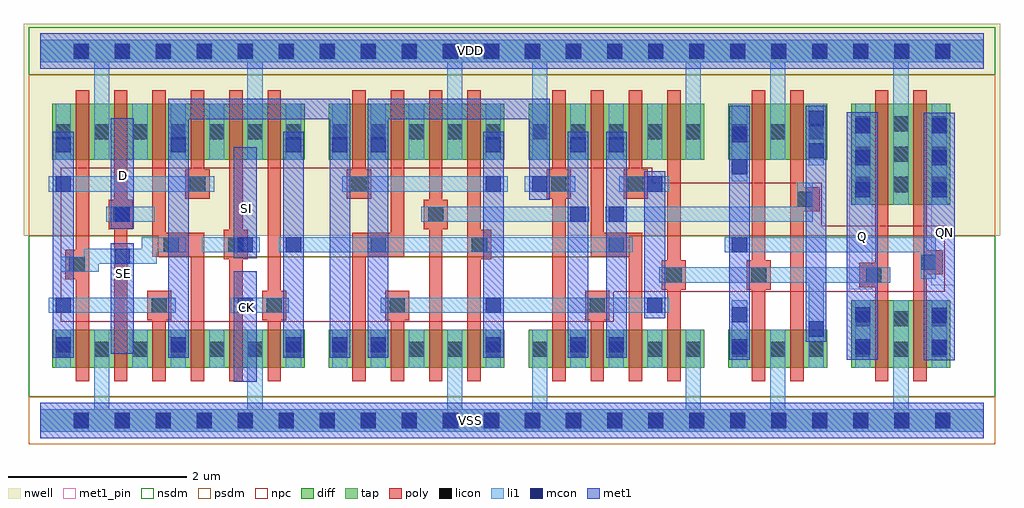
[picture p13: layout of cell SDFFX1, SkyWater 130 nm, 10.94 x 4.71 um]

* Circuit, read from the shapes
.subckt SDFFX1 CK D Q QN SE SI VDD VSS
XM1 VSS SE n1 VSS sky130_fd_pr__nfet_01v8 w=0.425 l=0.15
XM2 n2 D VSS VSS sky130_fd_pr__nfet_01v8 w=0.425 l=0.15
XM3 n3 n1 n2 VSS sky130_fd_pr__nfet_01v8 w=0.425 l=0.15
XM4 n4 SE n3 VSS sky130_fd_pr__nfet_01v8 w=0.425 l=0.15
XM5 VSS SI n4 VSS sky130_fd_pr__nfet_01v8 w=0.425 l=0.15
XM6 n5 CK VSS VSS sky130_fd_pr__nfet_01v8 w=0.425 l=0.15
XM7 n6 n5 n3 VSS sky130_fd_pr__nfet_01v8 w=0.425 l=0.15
XM8 n7 n8 n6 VSS sky130_fd_pr__nfet_01v8 w=0.425 l=0.15
XM9 VSS n9 n7 VSS sky130_fd_pr__nfet_01v8 w=0.425 l=0.15
XM10 n8 n5 VSS VSS sky130_fd_pr__nfet_01v8 w=0.425 l=0.15
XM11 n9 n6 VSS VSS sky130_fd_pr__nfet_01v8 w=0.425 l=0.15
XM12 n10 n8 n9 VSS sky130_fd_pr__nfet_01v8 w=0.425 l=0.15
XM13 n11 n5 n10 VSS sky130_fd_pr__nfet_01v8 w=0.425 l=0.15
XM14 VSS n12 n11 VSS sky130_fd_pr__nfet_01v8 w=0.425 l=0.15
XM15 VSS n12 n13 VSS sky130_fd_pr__nfet_01v8 w=0.425 l=0.15
XM16 n12 n10 VSS VSS sky130_fd_pr__nfet_01v8 w=0.425 l=0.15
XM17 VSS n12 Q VSS sky130_fd_pr__nfet_01v8 w=0.76 l=0.15
XM18 QN n13 VSS VSS sky130_fd_pr__nfet_01v8 w=0.76 l=0.15
XM19 VDD SE n1 VDD sky130_fd_pr__pfet_01v8 w=0.625 l=0.15
XM20 n14 D VDD VDD sky130_fd_pr__pfet_01v8 w=0.625 l=0.15
XM21 n3 SE n14 VDD sky130_fd_pr__pfet_01v8 w=0.625 l=0.15
XM22 n15 n1 n3 VDD sky130_fd_pr__pfet_01v8 w=0.625 l=0.15
XM23 VDD SI n15 VDD sky130_fd_pr__pfet_01v8 w=0.625 l=0.15
XM24 n5 CK VDD VDD sky130_fd_pr__pfet_01v8 w=0.625 l=0.15
XM25 n6 n8 n3 VDD sky130_fd_pr__pfet_01v8 w=0.625 l=0.15
XM26 n16 n5 n6 VDD sky130_fd_pr__pfet_01v8 w=0.625 l=0.15
XM27 VDD n9 n16 VDD sky130_fd_pr__pfet_01v8 w=0.625 l=0.15
XM28 n8 n5 VDD VDD sky130_fd_pr__pfet_01v8 w=0.625 l=0.15
XM29 n9 n6 VDD VDD sky130_fd_pr__pfet_01v8 w=0.625 l=0.15
XM30 n10 n5 n9 VDD sky130_fd_pr__pfet_01v8 w=0.625 l=0.15
XM31 n17 n8 n10 VDD sky130_fd_pr__pfet_01v8 w=0.625 l=0.15
XM32 VDD n12 n17 VDD sky130_fd_pr__pfet_01v8 w=0.625 l=0.15
XM33 VDD n12 n13 VDD sky130_fd_pr__pfet_01v8 w=0.625 l=0.15
XM34 n12 n10 VDD VDD sky130_fd_pr__pfet_01v8 w=0.625 l=0.15
XM35 VDD n12 Q VDD sky130_fd_pr__pfet_01v8 w=1.13 l=0.15
XM36 QN n13 VDD VDD sky130_fd_pr__pfet_01v8 w=1.13 l=0.15
.ends

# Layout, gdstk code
from math import pi, radians
import gdstk
lib = gdstk.Library(unit=1e-6, precision=1e-09)
def R(c, l, rs):  # rectangles x0, y0, x1, y1
    for r in rs: c.add(gdstk.rectangle(r[:2], r[2:], *l))
def A(c, l, x, y, w, h, nx, ny, dx, dy):  # array of equal rectangles
    R(c, l, [(x+i*dx, y+j*dy, x+i*dx+w, y+j*dy+h) for i in range(nx) for j in range(ny)])
def P(c, l, *ps):  # polygons
    for p in ps: c.add(gdstk.Polygon(p, *l))
nwell = (64, 20)
diff = (65, 20)
tap = (65, 44)
poly = (66, 20)
licon = (66, 44)
li1 = (67, 20)
mcon = (67, 44)
met1_pin = (68, 16)
met1 = (68, 20)
nsdm = (93, 44)
psdm = (94, 20)
npc = (95, 20)

nfet_01v8_cdns_715785618 = lib.new_cell('nfet_01v8_CDNS_715785618206')
R(nfet_01v8_cdns_715785618, diff, [(-0.225,0,0,0.425), (0,0,0.15,0.425), (0.15,0,0.415,0.425)])
R(nfet_01v8_cdns_715785618, poly, [(0,-0.15,0.15,-0.095), (0,-0.095,0.15,0), (0,0,0.15,0.425), (0,0.425,0.15,0.52), (0,0.52,0.15,0.575)])
R(nfet_01v8_cdns_715785618, licon, [(-0.225,0.125,-0.055,0.295), (0.205,0.125,0.375,0.295)])
R(nfet_01v8_cdns_715785618, li1, [(-0.225,0,-0.055,0.425), (0.205,0,0.375,0.425)])
R(nfet_01v8_cdns_715785618, nsdm, [(-0.235,-0.13,0.555,0.555)])

pfet_01v8_cdns_715785618 = lib.new_cell('pfet_01v8_CDNS_715785618209')
R(pfet_01v8_cdns_715785618, nwell, [(-0.445,-0.18,0.385,0.805)])
R(pfet_01v8_cdns_715785618, diff, [(-0.265,0,0,0.625), (0,0,0.15,0.625), (0.15,0,0.205,0.625)])
R(pfet_01v8_cdns_715785618, poly, [(0,-0.15,0.15,-0.095), (0,-0.095,0.15,0), (0,0,0.15,0.625), (0,0.625,0.15,0.72), (0,0.72,0.15,0.775)])
R(pfet_01v8_cdns_715785618, licon, [(-0.225,0.225,-0.055,0.395)])
R(pfet_01v8_cdns_715785618, li1, [(-0.225,0,-0.055,0.625)])
R(pfet_01v8_cdns_715785618, psdm, [(-0.405,-0.13,0.215,0.755)])

c_pfet_01v8_cdns_715785618 = lib.new_cell('pfet_01v8_CDNS_7157856182012')
R(c_pfet_01v8_cdns_715785618, nwell, [(-0.405,-0.18,0.595,1.31)])
R(c_pfet_01v8_cdns_715785618, diff, [(-0.225,0,0,1.13), (0,0,0.15,1.13), (0.15,0,0.415,1.13)])
R(c_pfet_01v8_cdns_715785618, poly, [(0,-0.15,0.15,-0.095), (0,-0.095,0.15,0), (0,0,0.15,1.13), (0,1.13,0.15,1.225), (0,1.225,0.15,1.28)])
A(c_pfet_01v8_cdns_715785618, licon, -0.225, 0.14, 0.17, 0.17, 1, 3, 0, 0.34)
A(c_pfet_01v8_cdns_715785618, licon, 0.205, 0.14, 0.17, 0.17, 1, 3, 0, 0.34)
R(c_pfet_01v8_cdns_715785618, li1, [(-0.225,0,-0.055,1.13), (0.205,0,0.375,1.13)])
R(c_pfet_01v8_cdns_715785618, psdm, [(-0.235,-0.13,0.555,1.26)])

c_nfet_01v8_cdns_715785618 = lib.new_cell('nfet_01v8_CDNS_7157856182050')
R(c_nfet_01v8_cdns_715785618, diff, [(-0.225,0,0,0.425), (0,0,0.15,0.425), (0.15,0,0.205,0.425)])
R(c_nfet_01v8_cdns_715785618, poly, [(0,-0.15,0.15,-0.095), (0,-0.095,0.15,0), (0,0,0.15,0.425), (0,0.425,0.15,0.52), (0,0.52,0.15,0.575)])
R(c_nfet_01v8_cdns_715785618, licon, [(-0.225,0.125,-0.055,0.295)])
R(c_nfet_01v8_cdns_715785618, li1, [(-0.225,0,-0.055,0.425)])
R(c_nfet_01v8_cdns_715785618, nsdm, [(-0.235,-0.13,0.215,0.555)])

c_nfet_01v8_cdns_715785618_ = lib.new_cell('nfet_01v8_CDNS_715785618208')
R(c_nfet_01v8_cdns_715785618_, diff, [(-0.055,0,0,0.425), (0,0,0.15,0.425), (0.15,0,0.415,0.425)])
R(c_nfet_01v8_cdns_715785618_, poly, [(0,-0.15,0.15,-0.095), (0,-0.095,0.15,0), (0,0,0.15,0.425), (0,0.425,0.15,0.52), (0,0.52,0.15,0.575)])
R(c_nfet_01v8_cdns_715785618_, licon, [(0.205,0.125,0.375,0.295)])
R(c_nfet_01v8_cdns_715785618_, li1, [(0.205,0,0.375,0.425)])
R(c_nfet_01v8_cdns_715785618_, nsdm, [(-0.065,-0.13,0.555,0.555)])

c_pfet_01v8_cdns_715785618_ = lib.new_cell('pfet_01v8_CDNS_715785618204')
R(c_pfet_01v8_cdns_715785618_, nwell, [(-0.235,-0.18,0.595,1.31)])
R(c_pfet_01v8_cdns_715785618_, diff, [(-0.055,0,0,1.13), (0,0,0.15,1.13), (0.15,0,0.415,1.13)])
R(c_pfet_01v8_cdns_715785618_, poly, [(0,-0.15,0.15,-0.095), (0,-0.095,0.15,0), (0,0,0.15,1.13), (0,1.13,0.15,1.225), (0,1.225,0.15,1.28)])
A(c_pfet_01v8_cdns_715785618_, licon, 0.205, 0.14, 0.17, 0.17, 1, 3, 0, 0.34)
R(c_pfet_01v8_cdns_715785618_, li1, [(0.205,0,0.375,1.13)])
R(c_pfet_01v8_cdns_715785618_, psdm, [(-0.065,-0.13,0.555,1.26)])

c_pfet_01v8_cdns_715785618__ = lib.new_cell('pfet_01v8_CDNS_7157856182082')
R(c_pfet_01v8_cdns_715785618__, nwell, [(-0.235,-0.18,0.385,0.805)])
R(c_pfet_01v8_cdns_715785618__, diff, [(-0.055,0,0,0.625), (0,0,0.15,0.625), (0.15,0,0.205,0.625)])
R(c_pfet_01v8_cdns_715785618__, poly, [(0,-0.15,0.15,-0.095), (0,-0.095,0.15,0), (0,0,0.15,0.625), (0,0.625,0.15,0.72), (0,0.72,0.15,0.775)])
R(c_pfet_01v8_cdns_715785618__, psdm, [(-0.065,-0.13,0.215,0.755)])

c_nfet_01v8_cdns_715785618__ = lib.new_cell('nfet_01v8_CDNS_7157856182083')
R(c_nfet_01v8_cdns_715785618__, diff, [(-0.225,0,0,0.425), (0,0,0.15,0.425), (0.15,0,0.375,0.425)])
R(c_nfet_01v8_cdns_715785618__, poly, [(0,-0.15,0.15,-0.095), (0,-0.095,0.15,0), (0,0,0.15,0.425), (0,0.425,0.15,0.52), (0,0.52,0.15,0.575)])
R(c_nfet_01v8_cdns_715785618__, licon, [(0.205,0.125,0.375,0.295)])
R(c_nfet_01v8_cdns_715785618__, li1, [(0.205,0,0.375,0.425)])
R(c_nfet_01v8_cdns_715785618__, nsdm, [(-0.235,-0.13,0.385,0.555)])

c_nfet_01v8_cdns_715785618___ = lib.new_cell('nfet_01v8_CDNS_7157856182085')
R(c_nfet_01v8_cdns_715785618___, diff, [(-0.055,0,0,0.425), (0,0,0.15,0.425), (0.15,0,0.375,0.425)])
R(c_nfet_01v8_cdns_715785618___, poly, [(0,-0.15,0.15,-0.095), (0,-0.095,0.15,0), (0,0,0.15,0.425), (0,0.425,0.15,0.52), (0,0.52,0.15,0.575)])
R(c_nfet_01v8_cdns_715785618___, licon, [(0.205,0.125,0.375,0.295)])
R(c_nfet_01v8_cdns_715785618___, li1, [(0.205,0,0.375,0.425)])
R(c_nfet_01v8_cdns_715785618___, nsdm, [(-0.065,-0.13,0.385,0.555)])

c_pfet_01v8_cdns_715785618___ = lib.new_cell('pfet_01v8_CDNS_7157856182086')
R(c_pfet_01v8_cdns_715785618___, nwell, [(-0.405,-0.18,0.555,0.805)])
R(c_pfet_01v8_cdns_715785618___, diff, [(-0.225,0,0,0.625), (0,0,0.15,0.625), (0.15,0,0.375,0.625)])
R(c_pfet_01v8_cdns_715785618___, poly, [(0,-0.15,0.15,-0.095), (0,-0.095,0.15,0), (0,0,0.15,0.625), (0,0.625,0.15,0.72), (0,0.72,0.15,0.775)])
R(c_pfet_01v8_cdns_715785618___, licon, [(0.205,0.225,0.375,0.395)])
R(c_pfet_01v8_cdns_715785618___, li1, [(0.205,0,0.375,0.625)])
R(c_pfet_01v8_cdns_715785618___, psdm, [(-0.235,-0.13,0.385,0.755)])

c_nfet_01v8_cdns_715785618____ = lib.new_cell('nfet_01v8_CDNS_7157856182033')
R(c_nfet_01v8_cdns_715785618____, diff, [(-0.225,0,0,0.425), (0,0,0.15,0.425), (0.15,0,0.205,0.425)])
R(c_nfet_01v8_cdns_715785618____, poly, [(0,-0.15,0.15,-0.095), (0,-0.095,0.15,0), (0,0,0.15,0.425), (0,0.425,0.15,0.52), (0,0.52,0.15,0.575)])
R(c_nfet_01v8_cdns_715785618____, nsdm, [(-0.235,-0.13,0.215,0.555)])

c_pfet_01v8_cdns_715785618____ = lib.new_cell('pfet_01v8_CDNS_7157856182019')
R(c_pfet_01v8_cdns_715785618____, nwell, [(-0.405,-0.18,0.595,0.805)])
R(c_pfet_01v8_cdns_715785618____, diff, [(-0.225,0,0,0.625), (0,0,0.15,0.625), (0.15,0,0.415,0.625)])
R(c_pfet_01v8_cdns_715785618____, poly, [(0,-0.15,0.15,-0.095), (0,-0.095,0.15,0), (0,0,0.15,0.625), (0,0.625,0.15,0.72), (0,0.72,0.15,0.775)])
R(c_pfet_01v8_cdns_715785618____, licon, [(-0.225,0.225,-0.055,0.395), (0.205,0.225,0.375,0.395)])
R(c_pfet_01v8_cdns_715785618____, li1, [(-0.225,0,-0.055,0.625), (0.205,0,0.375,0.625)])
R(c_pfet_01v8_cdns_715785618____, psdm, [(-0.235,-0.13,0.555,0.755)])

c_nfet_01v8_cdns_715785618_____ = lib.new_cell('nfet_01v8_CDNS_7157856182092')
R(c_nfet_01v8_cdns_715785618_____, diff, [(-0.265,0,0,0.425), (0,0,0.15,0.425), (0.15,0,0.375,0.425)])
R(c_nfet_01v8_cdns_715785618_____, poly, [(0,-0.15,0.15,-0.095), (0,-0.095,0.15,0), (0,0,0.15,0.425), (0,0.425,0.15,0.52), (0,0.52,0.15,0.575)])
R(c_nfet_01v8_cdns_715785618_____, licon, [(-0.225,0.125,-0.055,0.295)])
R(c_nfet_01v8_cdns_715785618_____, li1, [(-0.225,0,-0.055,0.425)])
R(c_nfet_01v8_cdns_715785618_____, nsdm, [(-0.405,-0.13,0.385,0.555)])

c_nfet_01v8_cdns_715785618______ = lib.new_cell('nfet_01v8_CDNS_7157856182077')
R(c_nfet_01v8_cdns_715785618______, diff, [(-0.055,0,0,0.425), (0,0,0.15,0.425), (0.15,0,0.415,0.425)])
R(c_nfet_01v8_cdns_715785618______, poly, [(0,-0.15,0.15,-0.095), (0,-0.095,0.15,0), (0,0,0.15,0.425), (0,0.425,0.15,0.52), (0,0.52,0.15,0.575)])
R(c_nfet_01v8_cdns_715785618______, licon, [(0.205,0.125,0.375,0.295)])
R(c_nfet_01v8_cdns_715785618______, li1, [(0.205,0,0.375,0.425)])
R(c_nfet_01v8_cdns_715785618______, nsdm, [(-0.065,-0.13,0.555,0.555)])

c_nfet_01v8_cdns_715785618_______ = lib.new_cell('nfet_01v8_CDNS_7157856182030')
R(c_nfet_01v8_cdns_715785618_______, diff, [(-0.055,0,0,0.425), (0,0,0.15,0.425), (0.15,0,0.375,0.425)])
R(c_nfet_01v8_cdns_715785618_______, poly, [(0,-0.15,0.15,-0.095), (0,-0.095,0.15,0), (0,0,0.15,0.425), (0,0.425,0.15,0.52), (0,0.52,0.15,0.575)])
R(c_nfet_01v8_cdns_715785618_______, licon, [(0.205,0.125,0.375,0.295)])
R(c_nfet_01v8_cdns_715785618_______, li1, [(0.205,0,0.375,0.425)])
R(c_nfet_01v8_cdns_715785618_______, nsdm, [(-0.065,-0.13,0.385,0.555)])

c_nfet_01v8_cdns_715785618________ = lib.new_cell('nfet_01v8_CDNS_7157856182088')
R(c_nfet_01v8_cdns_715785618________, diff, [(-0.055,0,0,0.425), (0,0,0.15,0.425), (0.15,0,0.205,0.425)])
R(c_nfet_01v8_cdns_715785618________, poly, [(0,-0.15,0.15,-0.095), (0,-0.095,0.15,0), (0,0,0.15,0.425), (0,0.425,0.15,0.52), (0,0.52,0.15,0.575)])
R(c_nfet_01v8_cdns_715785618________, nsdm, [(-0.065,-0.13,0.215,0.555)])

c_pfet_01v8_cdns_715785618_____ = lib.new_cell('pfet_01v8_CDNS_7157856182089')
R(c_pfet_01v8_cdns_715785618_____, nwell, [(-0.405,-0.18,0.385,0.805)])
R(c_pfet_01v8_cdns_715785618_____, diff, [(-0.225,0,0,0.625), (0,0,0.15,0.625), (0.15,0,0.205,0.625)])
R(c_pfet_01v8_cdns_715785618_____, poly, [(0,-0.15,0.15,-0.095), (0,-0.095,0.15,0), (0,0,0.15,0.625), (0,0.625,0.15,0.72), (0,0.72,0.15,0.775)])
R(c_pfet_01v8_cdns_715785618_____, psdm, [(-0.235,-0.13,0.215,0.755)])

c_nfet_01v8_cdns_715785618_________ = lib.new_cell('nfet_01v8_CDNS_7157856182090')
R(c_nfet_01v8_cdns_715785618_________, diff, [(-0.225,0,0,0.425), (0,0,0.15,0.425), (0.15,0,0.375,0.425)])
R(c_nfet_01v8_cdns_715785618_________, poly, [(0,-0.15,0.15,-0.095), (0,-0.095,0.15,0), (0,0,0.15,0.425), (0,0.425,0.15,0.52), (0,0.52,0.15,0.575)])
R(c_nfet_01v8_cdns_715785618_________, licon, [(0.205,0.125,0.375,0.295)])
R(c_nfet_01v8_cdns_715785618_________, li1, [(0.205,0,0.375,0.425)])
R(c_nfet_01v8_cdns_715785618_________, nsdm, [(-0.235,-0.13,0.385,0.555)])

c_pfet_01v8_cdns_715785618______ = lib.new_cell('pfet_01v8_CDNS_7157856182017')
R(c_pfet_01v8_cdns_715785618______, nwell, [(-0.235,-0.18,0.595,0.805)])
R(c_pfet_01v8_cdns_715785618______, diff, [(-0.055,0,0,0.625), (0,0,0.15,0.625), (0.15,0,0.415,0.625)])
R(c_pfet_01v8_cdns_715785618______, poly, [(0,-0.15,0.15,-0.095), (0,-0.095,0.15,0), (0,0,0.15,0.625), (0,0.625,0.15,0.72), (0,0.72,0.15,0.775)])
R(c_pfet_01v8_cdns_715785618______, licon, [(0.205,0.225,0.375,0.395)])
R(c_pfet_01v8_cdns_715785618______, li1, [(0.205,0,0.375,0.625)])
R(c_pfet_01v8_cdns_715785618______, psdm, [(-0.065,-0.13,0.555,0.755)])

c_nfet_01v8_cdns_715785618__________ = lib.new_cell('nfet_01v8_CDNS_715785618203')
R(c_nfet_01v8_cdns_715785618__________, diff, [(-0.055,0,0,0.76), (0,0,0.15,0.76), (0.15,0,0.415,0.76)])
R(c_nfet_01v8_cdns_715785618__________, poly, [(0,-0.15,0.15,-0.095), (0,-0.095,0.15,0), (0,0,0.15,0.76), (0,0.76,0.15,0.855), (0,0.855,0.15,0.91)])
R(c_nfet_01v8_cdns_715785618__________, licon, [(0.205,0.125,0.375,0.295), (0.205,0.465,0.375,0.635)])
R(c_nfet_01v8_cdns_715785618__________, li1, [(0.205,0,0.375,0.76)])
R(c_nfet_01v8_cdns_715785618__________, nsdm, [(-0.065,-0.13,0.555,0.89)])

c_pfet_01v8_cdns_715785618_______ = lib.new_cell('pfet_01v8_CDNS_7157856182048')
R(c_pfet_01v8_cdns_715785618_______, nwell, [(-0.405,-0.18,0.385,0.805)])
R(c_pfet_01v8_cdns_715785618_______, diff, [(-0.225,0,0,0.625), (0,0,0.15,0.625), (0.15,0,0.205,0.625)])
R(c_pfet_01v8_cdns_715785618_______, poly, [(0,-0.15,0.15,-0.095), (0,-0.095,0.15,0), (0,0,0.15,0.625), (0,0.625,0.15,0.72), (0,0.72,0.15,0.775)])
R(c_pfet_01v8_cdns_715785618_______, licon, [(-0.225,0.225,-0.055,0.395)])
R(c_pfet_01v8_cdns_715785618_______, li1, [(-0.225,0,-0.055,0.625)])
R(c_pfet_01v8_cdns_715785618_______, psdm, [(-0.235,-0.13,0.215,0.755)])

c_nfet_01v8_cdns_715785618___________ = lib.new_cell('nfet_01v8_CDNS_7157856182011')
R(c_nfet_01v8_cdns_715785618___________, diff, [(-0.265,0,0,0.425), (0,0,0.15,0.425), (0.15,0,0.205,0.425)])
R(c_nfet_01v8_cdns_715785618___________, poly, [(0,-0.15,0.15,-0.095), (0,-0.095,0.15,0), (0,0,0.15,0.425), (0,0.425,0.15,0.52), (0,0.52,0.15,0.575)])
R(c_nfet_01v8_cdns_715785618___________, licon, [(-0.225,0.125,-0.055,0.295)])
R(c_nfet_01v8_cdns_715785618___________, li1, [(-0.225,0,-0.055,0.425)])
R(c_nfet_01v8_cdns_715785618___________, nsdm, [(-0.405,-0.13,0.215,0.555)])

c_nfet_01v8_cdns_715785618____________ = lib.new_cell('nfet_01v8_CDNS_715785618207')
R(c_nfet_01v8_cdns_715785618____________, diff, [(-0.225,0,0,0.76), (0,0,0.15,0.76), (0.15,0,0.415,0.76)])
R(c_nfet_01v8_cdns_715785618____________, poly, [(0,-0.15,0.15,-0.095), (0,-0.095,0.15,0), (0,0,0.15,0.76), (0,0.76,0.15,0.855), (0,0.855,0.15,0.91)])
R(c_nfet_01v8_cdns_715785618____________, licon, [(-0.225,0.125,-0.055,0.295), (0.205,0.125,0.375,0.295), (-0.225,0.465,-0.055,0.635), (0.205,0.465,0.375,0.635)])
R(c_nfet_01v8_cdns_715785618____________, li1, [(-0.225,0,-0.055,0.76), (0.205,0,0.375,0.76)])
R(c_nfet_01v8_cdns_715785618____________, nsdm, [(-0.235,-0.13,0.555,0.89)])

c_pfet_01v8_cdns_715785618________ = lib.new_cell('pfet_01v8_CDNS_7157856182091')
R(c_pfet_01v8_cdns_715785618________, nwell, [(-0.445,-0.18,0.385,0.805)])
R(c_pfet_01v8_cdns_715785618________, diff, [(-0.265,0,0,0.625), (0,0,0.15,0.625), (0.15,0,0.205,0.625)])
R(c_pfet_01v8_cdns_715785618________, poly, [(0,-0.15,0.15,-0.095), (0,-0.095,0.15,0), (0,0,0.15,0.625), (0,0.625,0.15,0.72), (0,0.72,0.15,0.775)])
R(c_pfet_01v8_cdns_715785618________, licon, [(-0.225,0.225,-0.055,0.395)])
R(c_pfet_01v8_cdns_715785618________, li1, [(-0.225,0,-0.055,0.625)])
R(c_pfet_01v8_cdns_715785618________, psdm, [(-0.405,-0.13,0.215,0.755)])

c_pfet_01v8_cdns_715785618_________ = lib.new_cell('pfet_01v8_CDNS_7157856182037')
R(c_pfet_01v8_cdns_715785618_________, nwell, [(-0.405,-0.18,0.385,0.805)])
R(c_pfet_01v8_cdns_715785618_________, diff, [(-0.225,0,0,0.625), (0,0,0.15,0.625), (0.15,0,0.205,0.625)])
R(c_pfet_01v8_cdns_715785618_________, poly, [(0,-0.15,0.15,-0.095), (0,-0.095,0.15,0), (0,0,0.15,0.625), (0,0.625,0.15,0.72), (0,0.72,0.15,0.775)])
R(c_pfet_01v8_cdns_715785618_________, licon, [(-0.225,0.225,-0.055,0.395)])
R(c_pfet_01v8_cdns_715785618_________, li1, [(-0.225,0,-0.055,0.625)])
R(c_pfet_01v8_cdns_715785618_________, psdm, [(-0.235,-0.13,0.215,0.755)])

pyl1con_c_cdns_715785618 = lib.new_cell('PYL1CON_C_CDNS_715785618200')
R(pyl1con_c_cdns_715785618, poly, [(-0.135,-0.165,0.135,0.165)])
R(pyl1con_c_cdns_715785618, licon, [(-0.085,-0.085,0.085,0.085)])
R(pyl1con_c_cdns_715785618, npc, [(-0.185,-0.185,0.185,0.185)])

l1m1_c_cdns_715785618204 = lib.new_cell('L1M1_C_CDNS_715785618204')
R(l1m1_c_cdns_715785618204, li1, [(-0.085,-0.525,0.085,0.525)])
A(l1m1_c_cdns_715785618204, mcon, -0.085, -0.445, 0.17, 0.17, 1, 3, 0, 0.36)
R(l1m1_c_cdns_715785618204, met1, [(-0.115,-0.505,0.115,0.505)])

l1m1_c_cdns_715785618202 = lib.new_cell('L1M1_C_CDNS_715785618202')
R(l1m1_c_cdns_715785618202, li1, [(-0.085,-0.165,0.085,0.165)])
R(l1m1_c_cdns_715785618202, mcon, [(-0.085,-0.085,0.085,0.085)])
R(l1m1_c_cdns_715785618202, met1, [(-0.115,-0.145,0.115,0.145)])

l1m1_c_cdns_715785618205 = lib.new_cell('L1M1_C_CDNS_715785618205')
R(l1m1_c_cdns_715785618205, li1, [(-0.085,-0.345,0.085,0.345)])
R(l1m1_c_cdns_715785618205, mcon, [(-0.085,-0.265,0.085,-0.095), (-0.085,0.095,0.085,0.265)])
R(l1m1_c_cdns_715785618205, met1, [(-0.115,-0.325,0.115,0.325)])

l1m1_c_cdns_715785618203 = lib.new_cell('L1M1_C_CDNS_715785618203')
R(l1m1_c_cdns_715785618203, li1, [(-0.165,-0.085,0.165,0.085)])
R(l1m1_c_cdns_715785618203, mcon, [(-0.085,-0.085,0.085,0.085)])
R(l1m1_c_cdns_715785618203, met1, [(-0.115,-0.145,0.115,0.145)])

licondiff_c_cdns_7157856 = lib.new_cell('LICONDIFF_C_CDNS_7157856182013')
R(licondiff_c_cdns_7157856, diff, [(-0.125,-0.145,0.125,0.145)])
R(licondiff_c_cdns_7157856, licon, [(-0.085,-0.085,0.085,0.085), (-0.085,-0.085,0.085,0.085)])

c_pyl1con_c_cdns_715785618 = lib.new_cell('PYL1CON_C_CDNS_715785618201')
R(c_pyl1con_c_cdns_715785618, poly, [(-0.135,-0.29,0.135,0.29)])
R(c_pyl1con_c_cdns_715785618, licon, [(-0.085,-0.085,0.085,0.085)])
R(c_pyl1con_c_cdns_715785618, npc, [(-0.185,-0.185,0.185,0.185)])

c_l1m1_c_cdns_715785618202 = lib.new_cell('L1M1_C_CDNS_7157856182021')
R(c_l1m1_c_cdns_715785618202, li1, [(-0.125,-0.085,0.125,0.085)])
R(c_l1m1_c_cdns_715785618202, mcon, [(-0.085,-0.085,0.085,0.085)])
R(c_l1m1_c_cdns_715785618202, met1, [(-0.115,-0.145,0.115,0.145)])

c_pyl1con_c_cdns_715785618_ = lib.new_cell('PYL1CON_C_CDNS_7157856182022')
R(c_pyl1con_c_cdns_715785618_, poly, [(-0.135,-0.37,0.135,0.21)])
R(c_pyl1con_c_cdns_715785618_, licon, [(-0.085,-0.085,0.085,0.085)])
R(c_pyl1con_c_cdns_715785618_, npc, [(-0.185,-0.185,0.185,0.185)])

sdffx1 = lib.new_cell('SDFFX1')
R(sdffx1, nwell, [(-0.18,2.07,10.76,4.305), (-0.18,3.875,10.76,4.445)])
A(sdffx1, licon, 0.375, -0.085, 0.17, 0.17, 22, 2, 0.46, 4.14)
A(sdffx1, mcon, 0.375, -0.085, 0.17, 0.17, 22, 2, 0.46, 4.14)
R(sdffx1, met1_pin, [(2.17,0.435,2.43,1.675), (0.79,0.745,1.05,1.985), (9.07,1.47,9.33,2.71), (9.99,1.515,10.25,2.755), (2.17,1.82,2.43,3.06), (0.79,2.15,1.05,3.39)])
R(sdffx1, met1, [(9.905,0.675,10.19,3.45), (9.045,0.68,9.39,3.455)])
R(sdffx1, nsdm, [(-0.125,3.875,10.705,4.405), (-0.125,3.93,10.705,4.35)])
P(sdffx1, nsdm, [(10.705,2.07),(6.605,2.07),(6.605,1.835),(1.325,1.835),(1.325,2.07),(-0.125,2.07),(-0.125,0.265),(10.705,0.265)])
R(sdffx1, psdm, [(-0.125,-0.265,10.705,0.265), (-0.125,-0.21,10.705,0.21)])
P(sdffx1, psdm, [(10.705,3.875),(-0.125,3.875),(-0.125,2.07),(1.325,2.07),(1.325,1.835),(6.605,1.835),(6.605,2.07),(10.705,2.07)])
P(sdffx1, npc, [(10.14,2.18),(8.76,2.18),(8.76,2.665),(6.86,2.665),(6.86,2.835),(0.23,2.835),(0.23,1.105),(6.43,1.105),(6.43,1.445),(10.14,1.445)])
sdffx1.add(gdstk.FlexPath([(1.335,1.97),(1.765,1.97)], 0.15, ends="extended", simple_path=True, layer=66, datatype=20))  # poly
sdffx1.add(gdstk.FlexPath([(1.765,1.97),(1.765,1.11)], 0.15, ends=(0.075, 0), simple_path=True, layer=66, datatype=20))  # poly
sdffx1.add(gdstk.FlexPath([(1.335,1.97),(1.335,2.83)], 0.15, ends=(0.075, 0), simple_path=True, layer=66, datatype=20))  # poly
sdffx1.add(gdstk.FlexPath([(0.475,2.83),(0.475,1.11)], 0.15, ends="flush", simple_path=True, layer=66, datatype=20))  # poly
sdffx1.add(gdstk.FlexPath([(0.905,2.83),(0.905,1.11)], 0.15, ends="flush", simple_path=True, layer=66, datatype=20))  # poly
sdffx1.add(gdstk.FlexPath([(2.195,2.83),(2.195,1.11)], 0.15, ends="flush", simple_path=True, layer=66, datatype=20))  # poly
sdffx1.add(gdstk.FlexPath([(4.865,2.83),(4.865,1.11)], 0.15, ends="flush", simple_path=True, layer=66, datatype=20))  # poly
sdffx1.add(gdstk.FlexPath([(2.625,2.83),(2.625,1.11)], 0.15, ends="flush", simple_path=True, layer=66, datatype=20))  # poly
sdffx1.add(gdstk.FlexPath([(4.005,1.97),(4.005,2.83)], 0.15, ends=(0.075, 0), simple_path=True, layer=66, datatype=20))  # poly
sdffx1.add(gdstk.FlexPath([(4.005,1.97),(3.575,1.97)], 0.15, ends="extended", simple_path=True, layer=66, datatype=20))  # poly
sdffx1.add(gdstk.FlexPath([(3.575,1.97),(3.575,1.11)], 0.15, ends=(0.075, 0), simple_path=True, layer=66, datatype=20))  # poly
sdffx1.add(gdstk.FlexPath([(7.105,2.83),(7.105,1.11)], 0.15, ends="flush", simple_path=True, layer=66, datatype=20))  # poly
sdffx1.add(gdstk.FlexPath([(6.245,1.97),(6.675,1.97)], 0.15, ends="extended", simple_path=True, layer=66, datatype=20))  # poly
sdffx1.add(gdstk.FlexPath([(6.675,1.97),(6.675,1.11)], 0.15, ends=(0.075, 0), simple_path=True, layer=66, datatype=20))  # poly
sdffx1.add(gdstk.FlexPath([(4.435,2.83),(4.435,1.11)], 0.15, ends="flush", simple_path=True, layer=66, datatype=20))  # poly
sdffx1.add(gdstk.FlexPath([(5.815,2.83),(5.815,1.11)], 0.15, ends="flush", simple_path=True, layer=66, datatype=20))  # poly
sdffx1.add(gdstk.FlexPath([(6.245,1.97),(6.245,2.83)], 0.15, ends=(0.075, 0), simple_path=True, layer=66, datatype=20))  # poly
sdffx1.add(gdstk.FlexPath([(9.435,1.445),(9.435,1.5)], 0.15, ends=(0, 0.075), simple_path=True, layer=66, datatype=20))  # poly
sdffx1.add(gdstk.FlexPath([(9.865,1.445),(9.865,2.325)], 0.15, ends="flush", simple_path=True, layer=66, datatype=20))  # poly
sdffx1.add(gdstk.FlexPath([(9.435,1.5),(9.435,2.325)], 0.15, ends=(0.075, 0), simple_path=True, layer=66, datatype=20))  # poly
sdffx1.add(gdstk.FlexPath([(8.055,2.83),(8.055,1.11)], 0.15, ends="flush", simple_path=True, layer=66, datatype=20))  # poly
sdffx1.add(gdstk.FlexPath([(8.485,2.775),(8.485,1.165)], 0.15, ends="flush", simple_path=True, layer=66, datatype=20))  # poly
sdffx1.add(gdstk.FlexPath([(9.955,1.97),(9.955,1.59)], 0.17, ends=(0.085, 0), simple_path=True, layer=67, datatype=20))  # li1
sdffx1.add(gdstk.FlexPath([(0.575,1.84),(1.225,1.84)], 0.17, ends="extended", simple_path=True, layer=67, datatype=20))  # li1
sdffx1.add(gdstk.FlexPath([(5.435,2.65),(6,2.65)], 0.17, ends="flush", simple_path=True, layer=67, datatype=20))  # li1
sdffx1.add(gdstk.FlexPath([(3.39,2.65),(5.245,2.65)], 0.17, ends="flush", simple_path=True, layer=67, datatype=20))  # li1
sdffx1.add(gdstk.FlexPath([(6.155,2.31),(4.27,2.31)], 0.17, ends="flush", simple_path=True, layer=67, datatype=20))  # li1
sdffx1.add(gdstk.FlexPath([(0.095,1.29),(1.52,1.29)], 0.17, ends="flush", simple_path=True, layer=67, datatype=20))  # li1
sdffx1.add(gdstk.FlexPath([(4.22,2.925),(4.22,3.55)], 0.17, ends="flush", simple_path=True, layer=67, datatype=20))  # li1
sdffx1.add(gdstk.FlexPath([(4.22,0.59),(4.22,1.015)], 0.17, ends="flush", simple_path=True, layer=67, datatype=20))  # li1
sdffx1.add(gdstk.FlexPath([(2.36,1.97),(1.815,1.97)], 0.17, ends="flush", simple_path=True, layer=67, datatype=20))  # li1
sdffx1.add(gdstk.FlexPath([(2.79,1.29),(2.245,1.29)], 0.17, ends="flush", simple_path=True, layer=67, datatype=20))  # li1
sdffx1.add(gdstk.FlexPath([(2.675,1.97),(6.645,1.97)], 0.17, ends="flush", simple_path=True, layer=67, datatype=20))  # li1
sdffx1.add(gdstk.FlexPath([(8.575,2.31),(8.575,2.665)], 0.17, ends="flush", simple_path=True, layer=67, datatype=20))  # li1
sdffx1.add(gdstk.FlexPath([(6.89,0.59),(6.89,1.015)], 0.17, ends="flush", simple_path=True, layer=67, datatype=20))  # li1
sdffx1.add(gdstk.FlexPath([(6.89,2.925),(6.89,3.55)], 0.17, ends="flush", simple_path=True, layer=67, datatype=20))  # li1
sdffx1.add(gdstk.FlexPath([(1.225,1.84),(1.225,1.97)], 0.17, ends="extended", simple_path=True, layer=67, datatype=20))  # li1
sdffx1.add(gdstk.FlexPath([(0.23,1.75),(0.575,1.75)], 0.17, ends=(0, 0.085), simple_path=True, layer=67, datatype=20))  # li1
sdffx1.add(gdstk.FlexPath([(1.225,1.97),(1.635,1.97)], 0.17, ends=(0.085, 0), simple_path=True, layer=67, datatype=20))  # li1
sdffx1.add(gdstk.FlexPath([(6.49,2.65),(7.055,2.65)], 0.17, ends="flush", simple_path=True, layer=67, datatype=20))  # li1
sdffx1.add(gdstk.FlexPath([(0.095,2.65),(1.95,2.65)], 0.17, ends="flush", simple_path=True, layer=67, datatype=20))  # li1
sdffx1.add(gdstk.FlexPath([(1.225,1.97),(1.51,1.97)], 0.17, ends=(0.085, 0), simple_path=True, layer=67, datatype=20))  # li1
sdffx1.add(gdstk.FlexPath([(0.575,1.75),(0.575,1.84)], 0.17, ends="extended", simple_path=True, layer=67, datatype=20))  # li1
sdffx1.add(gdstk.FlexPath([(1.12,2.925),(1.12,3.55)], 0.17, ends="flush", simple_path=True, layer=67, datatype=20))  # li1
sdffx1.add(gdstk.FlexPath([(1.98,2.925),(1.98,3.55)], 0.17, ends="flush", simple_path=True, layer=67, datatype=20))  # li1
sdffx1.add(gdstk.FlexPath([(6.335,2.31),(8.66,2.31)], 0.17, ends="flush", simple_path=True, layer=67, datatype=20))  # li1
sdffx1.add(gdstk.FlexPath([(3.82,1.29),(7.055,1.29)], 0.17, ends="flush", simple_path=True, layer=67, datatype=20))  # li1
sdffx1.add(gdstk.FlexPath([(6.94,1.63),(9.53,1.63)], 0.17, ends="flush", simple_path=True, layer=67, datatype=20))  # li1
sdffx1.add(gdstk.FlexPath([(7.84,1.97),(9.955,1.97)], 0.17, ends=(0, 0.085), simple_path=True, layer=67, datatype=20))  # li1
sdffx1.add(gdstk.FlexPath([(1.12,0.59),(1.12,1.015)], 0.17, ends="flush", simple_path=True, layer=67, datatype=20))  # li1
sdffx1.add(gdstk.FlexPath([(1.98,0.59),(1.98,1.015)], 0.17, ends="flush", simple_path=True, layer=67, datatype=20))  # li1
sdffx1.add(gdstk.FlexPath([(1.285,2.31),(0.74,2.31)], 0.17, ends="flush", simple_path=True, layer=67, datatype=20))  # li1
sdffx1.add(gdstk.FlexPath([(8.7,1.63),(8.7,0.59)], 0.17, ends=(0.085, 0), simple_path=True, layer=67, datatype=20))  # li1
sdffx1.add(gdstk.FlexPath([(0,0),(10.58,0)], 0.25, ends="flush", simple_path=True, layer=67, datatype=20))  # li1
sdffx1.add(gdstk.FlexPath([(0,4.14),(10.58,4.14)], 0.25, ends="flush", simple_path=True, layer=67, datatype=20))  # li1
sdffx1.add(gdstk.FlexPath([(9.65,2.925),(9.65,4.14)], 0.17, ends=(0, 0.125), simple_path=True, layer=67, datatype=20))  # li1
sdffx1.add(gdstk.FlexPath([(0.69,2.925),(0.69,4.14)], 0.17, ends=(0, 0.125), simple_path=True, layer=67, datatype=20))  # li1
sdffx1.add(gdstk.FlexPath([(2.41,2.925),(2.41,4.14)], 0.17, ends=(0, 0.125), simple_path=True, layer=67, datatype=20))  # li1
sdffx1.add(gdstk.FlexPath([(0.69,1.015),(0.69,0)], 0.17, ends=(0, 0.125), simple_path=True, layer=67, datatype=20))  # li1
sdffx1.add(gdstk.FlexPath([(2.41,1.015),(2.41,0)], 0.17, ends=(0, 0.125), simple_path=True, layer=67, datatype=20))  # li1
sdffx1.add(gdstk.FlexPath([(4.65,2.925),(4.65,4.14)], 0.17, ends=(0, 0.125), simple_path=True, layer=67, datatype=20))  # li1
sdffx1.add(gdstk.FlexPath([(5.6,2.925),(5.6,4.14)], 0.17, ends=(0, 0.125), simple_path=True, layer=67, datatype=20))  # li1
sdffx1.add(gdstk.FlexPath([(4.65,1.015),(4.65,0)], 0.17, ends=(0, 0.125), simple_path=True, layer=67, datatype=20))  # li1
sdffx1.add(gdstk.FlexPath([(5.6,1.015),(5.6,0)], 0.17, ends=(0, 0.125), simple_path=True, layer=67, datatype=20))  # li1
sdffx1.add(gdstk.FlexPath([(7.32,1.015),(7.32,0)], 0.17, ends=(0, 0.125), simple_path=True, layer=67, datatype=20))  # li1
sdffx1.add(gdstk.FlexPath([(7.32,2.925),(7.32,4.14)], 0.17, ends=(0, 0.125), simple_path=True, layer=67, datatype=20))  # li1
sdffx1.add(gdstk.FlexPath([(8.27,2.925),(8.27,4.14)], 0.17, ends=(0, 0.125), simple_path=True, layer=67, datatype=20))  # li1
sdffx1.add(gdstk.FlexPath([(9.65,1.015),(9.65,0)], 0.17, ends=(0, 0.125), simple_path=True, layer=67, datatype=20))  # li1
sdffx1.add(gdstk.FlexPath([(8.27,1.015),(8.27,0)], 0.17, ends=(0, 0.125), simple_path=True, layer=67, datatype=20))  # li1
sdffx1.add(gdstk.FlexPath([(5.6,3.49),(5.6,2.475)], 0.23, ends=(0.115, 0), simple_path=True, layer=68, datatype=20))  # met1
sdffx1.add(gdstk.FlexPath([(3.79,3.49),(5.6,3.49)], 0.23, ends="extended", simple_path=True, layer=68, datatype=20))  # met1
sdffx1.add(gdstk.FlexPath([(6.89,1.145),(6.89,2.795)], 0.23, ends="flush", simple_path=True, layer=68, datatype=20))  # met1
sdffx1.add(gdstk.FlexPath([(1.55,3.49),(3.36,3.49)], 0.23, ends="extended", simple_path=True, layer=68, datatype=20))  # met1
sdffx1.add(gdstk.FlexPath([(3.36,0.705),(3.36,3.49)], 0.23, ends=(0, 0.115), simple_path=True, layer=68, datatype=20))  # met1
sdffx1.add(gdstk.FlexPath([(1.55,0.705),(1.55,3.49)], 0.23, ends=(0, 0.115), simple_path=True, layer=68, datatype=20))  # met1
sdffx1.add(gdstk.FlexPath([(0.26,0.705),(0.26,3.235)], 0.23, ends="flush", simple_path=True, layer=68, datatype=20))  # met1
sdffx1.add(gdstk.FlexPath([(5.08,0.705),(5.08,3.235)], 0.23, ends="flush", simple_path=True, layer=68, datatype=20))  # met1
sdffx1.add(gdstk.FlexPath([(2.84,0.705),(2.84,3.235)], 0.23, ends="flush", simple_path=True, layer=68, datatype=20))  # met1
sdffx1.add(gdstk.FlexPath([(3.79,0.705),(3.79,3.49)], 0.23, ends=(0, 0.115), simple_path=True, layer=68, datatype=20))  # met1
sdffx1.add(gdstk.FlexPath([(10.12,0.675),(10.12,3.45)], 0.26, ends="flush", simple_path=True, layer=68, datatype=20))  # met1
sdffx1.add(gdstk.FlexPath([(2.3,0.435),(2.3,1.675)], 0.26, ends="flush", simple_path=True, layer=68, datatype=20))  # met1
sdffx1.add(gdstk.FlexPath([(2.3,1.82),(2.3,3.06)], 0.26, ends="flush", simple_path=True, layer=68, datatype=20))  # met1
sdffx1.add(gdstk.FlexPath([(6.46,0.705),(6.46,3.235)], 0.23, ends="flush", simple_path=True, layer=68, datatype=20))  # met1
sdffx1.add(gdstk.FlexPath([(7.84,0.68),(7.84,3.53)], 0.23, ends="flush", simple_path=True, layer=68, datatype=20))  # met1
sdffx1.add(gdstk.FlexPath([(9.2,0.68),(9.2,3.455)], 0.26, ends="flush", simple_path=True, layer=68, datatype=20))  # met1
sdffx1.add(gdstk.FlexPath([(8.7,0.88),(8.7,3.53)], 0.23, ends="flush", simple_path=True, layer=68, datatype=20))  # met1
sdffx1.add(gdstk.FlexPath([(0.92,2.15),(0.92,3.39)], 0.26, ends="flush", simple_path=True, layer=68, datatype=20))  # met1
sdffx1.add(gdstk.FlexPath([(0.92,0.745),(0.92,1.985)], 0.26, ends="flush", simple_path=True, layer=68, datatype=20))  # met1
sdffx1.add(gdstk.FlexPath([(6.03,0.705),(6.03,3.235)], 0.23, ends="flush", simple_path=True, layer=68, datatype=20))  # met1
sdffx1.add(gdstk.FlexPath([(0,4.14),(10.58,4.14)], 0.4, ends="flush", simple_path=True, layer=68, datatype=20))  # met1
sdffx1.add(gdstk.FlexPath([(0,0),(10.58,0)], 0.4, ends="flush", simple_path=True, layer=68, datatype=20))  # met1
sdffx1.add(gdstk.FlexPath([(0,0),(10.58,0)], 0.4, ends="flush", simple_path=True, layer=68, datatype=16))  # met1_pin
sdffx1.add(gdstk.FlexPath([(0,4.14),(10.58,4.14)], 0.4, ends="flush", simple_path=True, layer=68, datatype=16))  # met1_pin
sdffx1.add(gdstk.FlexPath([(0,0),(10.58,0)], 0.25, ends="flush", simple_path=True, layer=65, datatype=44))  # tap
sdffx1.add(gdstk.FlexPath([(0,4.14),(10.58,4.14)], 0.25, ends="flush", simple_path=True, layer=65, datatype=44))  # tap
sdffx1.add(gdstk.Reference(nfet_01v8_cdns_715785618, (0.55,0.59), rotation=pi, x_reflection=True))
sdffx1.add(gdstk.Reference(nfet_01v8_cdns_715785618, (8.41,0.59)))
sdffx1.add(gdstk.Reference(pfet_01v8_cdns_715785618, (3.5,2.925)))
sdffx1.add(gdstk.Reference(c_pfet_01v8_cdns_715785618, (9.79,2.42)))
sdffx1.add(gdstk.Reference(c_nfet_01v8_cdns_715785618, (4.51,0.59), rotation=pi, x_reflection=True))
sdffx1.add(gdstk.Reference(c_nfet_01v8_cdns_715785618, (2.27,0.59), rotation=pi, x_reflection=True))
sdffx1.add(gdstk.Reference(c_nfet_01v8_cdns_715785618_, (4.79,0.59)))
sdffx1.add(gdstk.Reference(c_nfet_01v8_cdns_715785618_, (8.13,0.59), rotation=pi, x_reflection=True))
sdffx1.add(gdstk.Reference(c_nfet_01v8_cdns_715785618_, (2.55,0.59)))
sdffx1.add(gdstk.Reference(c_pfet_01v8_cdns_715785618_, (9.51,2.42), rotation=pi, x_reflection=True))
sdffx1.add(gdstk.Reference(c_pfet_01v8_cdns_715785618__, (0.83,2.925)))
sdffx1.add(gdstk.Reference(c_nfet_01v8_cdns_715785618__, (4.08,0.59), rotation=pi, x_reflection=True))
sdffx1.add(gdstk.Reference(c_nfet_01v8_cdns_715785618___, (6.75,0.59), rotation=pi, x_reflection=True))
sdffx1.add(gdstk.Reference(c_pfet_01v8_cdns_715785618___, (1.26,2.925)))
sdffx1.add(gdstk.Reference(c_pfet_01v8_cdns_715785618___, (6.75,2.925), rotation=pi, x_reflection=True))
sdffx1.add(gdstk.Reference(c_pfet_01v8_cdns_715785618___, (4.08,2.925), rotation=pi, x_reflection=True))
sdffx1.add(gdstk.Reference(c_nfet_01v8_cdns_715785618____, (1.84,0.59), rotation=pi, x_reflection=True))
sdffx1.add(gdstk.Reference(c_pfet_01v8_cdns_715785618____, (8.41,2.925)))
sdffx1.add(gdstk.Reference(c_pfet_01v8_cdns_715785618____, (0.55,2.925), rotation=pi, x_reflection=True))
sdffx1.add(gdstk.Reference(c_nfet_01v8_cdns_715785618_____, (7.18,0.59), rotation=pi, x_reflection=True))
sdffx1.add(gdstk.Reference(c_nfet_01v8_cdns_715785618______, (3.65,0.59), rotation=pi, x_reflection=True))
sdffx1.add(gdstk.Reference(c_nfet_01v8_cdns_715785618_______, (6.32,0.59), rotation=pi, x_reflection=True))
sdffx1.add(gdstk.Reference(c_nfet_01v8_cdns_715785618________, (0.83,0.59)))
sdffx1.add(gdstk.Reference(c_pfet_01v8_cdns_715785618_____, (1.84,2.925), rotation=pi, x_reflection=True))
sdffx1.add(gdstk.Reference(c_nfet_01v8_cdns_715785618_________, (1.26,0.59)))
sdffx1.add(gdstk.Reference(c_pfet_01v8_cdns_715785618______, (8.13,2.925), rotation=pi, x_reflection=True))
sdffx1.add(gdstk.Reference(c_pfet_01v8_cdns_715785618______, (4.79,2.925)))
sdffx1.add(gdstk.Reference(c_pfet_01v8_cdns_715785618______, (2.55,2.925)))
sdffx1.add(gdstk.Reference(c_nfet_01v8_cdns_715785618__________, (9.51,0.59), rotation=pi, x_reflection=True))
sdffx1.add(gdstk.Reference(c_pfet_01v8_cdns_715785618_______, (4.51,2.925), rotation=pi, x_reflection=True))
sdffx1.add(gdstk.Reference(c_pfet_01v8_cdns_715785618_______, (2.27,2.925), rotation=pi, x_reflection=True))
sdffx1.add(gdstk.Reference(c_nfet_01v8_cdns_715785618___________, (5.74,0.59)))
sdffx1.add(gdstk.Reference(c_nfet_01v8_cdns_715785618____________, (9.79,0.59)))
sdffx1.add(gdstk.Reference(c_pfet_01v8_cdns_715785618________, (5.74,2.925)))
sdffx1.add(gdstk.Reference(c_pfet_01v8_cdns_715785618________, (7.18,2.925), rotation=pi, x_reflection=True))
sdffx1.add(gdstk.Reference(c_pfet_01v8_cdns_715785618_________, (6.17,2.925)))
sdffx1.add(gdstk.Reference(pyl1con_c_cdns_715785618, (5.815,2.65), rotation=pi))
sdffx1.add(gdstk.Reference(pyl1con_c_cdns_715785618, (8.055,1.63), rotation=pi, x_reflection=True))
sdffx1.add(gdstk.Reference(pyl1con_c_cdns_715785618, (7.105,1.63), rotation=pi, x_reflection=True))
sdffx1.add(gdstk.Reference(pyl1con_c_cdns_715785618, (4.925,1.97), rotation=pi))
sdffx1.add(gdstk.Reference(pyl1con_c_cdns_715785618, (2.625,1.29), x_reflection=True))
sdffx1.add(gdstk.Reference(pyl1con_c_cdns_715785618, (2.195,1.97), x_reflection=True))
sdffx1.add(gdstk.Reference(pyl1con_c_cdns_715785618, (1.765,2.65), rotation=pi))
sdffx1.add(gdstk.Reference(pyl1con_c_cdns_715785618, (1.335,1.29), x_reflection=True))
sdffx1.add(gdstk.Reference(pyl1con_c_cdns_715785618, (4.005,1.29), rotation=pi))
sdffx1.add(gdstk.Reference(pyl1con_c_cdns_715785618, (3.575,2.65), x_reflection=True))
sdffx1.add(gdstk.Reference(pyl1con_c_cdns_715785618, (6.675,2.65), rotation=pi))
sdffx1.add(gdstk.Reference(pyl1con_c_cdns_715785618, (6.245,1.29), x_reflection=True))
sdffx1.add(gdstk.Reference(pyl1con_c_cdns_715785618, (9.955,1.775), rotation=3*pi/2, x_reflection=True))
sdffx1.add(gdstk.Reference(pyl1con_c_cdns_715785618, (0.415,1.75)))
sdffx1.add(gdstk.Reference(pyl1con_c_cdns_715785618, (4.435,2.31)))
sdffx1.add(gdstk.Reference(pyl1con_c_cdns_715785618, (8.575,2.48), rotation=pi/2, x_reflection=True))
sdffx1.add(gdstk.Reference(pyl1con_c_cdns_715785618, (0.905,2.31)))
sdffx1.add(gdstk.Reference(pyl1con_c_cdns_715785618, (9.345,1.63), rotation=3*pi/2, x_reflection=True))
sdffx1.add(gdstk.Reference(l1m1_c_cdns_715785618204, (10.08,2.945)))
sdffx1.add(gdstk.Reference(l1m1_c_cdns_715785618204, (9.22,2.945)))
sdffx1.add(gdstk.Reference(l1m1_c_cdns_715785618202, (3.36,3.09)))
sdffx1.add(gdstk.Reference(l1m1_c_cdns_715785618202, (3.36,0.85)))
sdffx1.add(gdstk.Reference(l1m1_c_cdns_715785618202, (1.55,3.09)))
sdffx1.add(gdstk.Reference(l1m1_c_cdns_715785618202, (1.55,0.85)))
sdffx1.add(gdstk.Reference(l1m1_c_cdns_715785618202, (0.26,3.09)))
sdffx1.add(gdstk.Reference(l1m1_c_cdns_715785618202, (0.26,0.85)))
sdffx1.add(gdstk.Reference(l1m1_c_cdns_715785618202, (5.08,0.85), rotation=pi, x_reflection=True))
sdffx1.add(gdstk.Reference(l1m1_c_cdns_715785618202, (5.08,3.09), rotation=pi, x_reflection=True))
sdffx1.add(gdstk.Reference(l1m1_c_cdns_715785618202, (2.84,0.85)))
sdffx1.add(gdstk.Reference(l1m1_c_cdns_715785618202, (2.84,3.09)))
sdffx1.add(gdstk.Reference(l1m1_c_cdns_715785618202, (3.79,3.09)))
sdffx1.add(gdstk.Reference(l1m1_c_cdns_715785618202, (3.79,0.85)))
sdffx1.add(gdstk.Reference(l1m1_c_cdns_715785618202, (6.03,0.85)))
sdffx1.add(gdstk.Reference(l1m1_c_cdns_715785618202, (6.03,3.09)))
sdffx1.add(gdstk.Reference(l1m1_c_cdns_715785618202, (6.46,0.85), rotation=pi, x_reflection=True))
sdffx1.add(gdstk.Reference(l1m1_c_cdns_715785618202, (6.46,3.09), rotation=pi, x_reflection=True))
sdffx1.add(gdstk.Reference(l1m1_c_cdns_715785618202, (8.7,1.025), rotation=pi, x_reflection=True))
sdffx1.add(gdstk.Reference(l1m1_c_cdns_715785618205, (8.7,3.205), rotation=pi, x_reflection=True))
sdffx1.add(gdstk.Reference(l1m1_c_cdns_715785618205, (10.08,1)))
sdffx1.add(gdstk.Reference(l1m1_c_cdns_715785618205, (9.22,1.005)))
sdffx1.add(gdstk.Reference(l1m1_c_cdns_715785618205, (7.84,3.025)))
sdffx1.add(gdstk.Reference(l1m1_c_cdns_715785618205, (7.84,1.005)))
sdffx1.add(gdstk.Reference(l1m1_c_cdns_715785618203, (5.6,2.65)))
sdffx1.add(gdstk.Reference(l1m1_c_cdns_715785618203, (6.89,2.65)))
sdffx1.add(gdstk.Reference(l1m1_c_cdns_715785618203, (6.89,1.29)))
sdffx1.add(gdstk.Reference(l1m1_c_cdns_715785618203, (2.3,1.29), x_reflection=True))
sdffx1.add(gdstk.Reference(l1m1_c_cdns_715785618203, (2.3,1.97), x_reflection=True))
sdffx1.add(gdstk.Reference(l1m1_c_cdns_715785618203, (2.84,1.97)))
sdffx1.add(gdstk.Reference(l1m1_c_cdns_715785618203, (5.08,2.65), rotation=pi, x_reflection=True))
sdffx1.add(gdstk.Reference(l1m1_c_cdns_715785618203, (5.08,1.29), rotation=pi, x_reflection=True))
sdffx1.add(gdstk.Reference(l1m1_c_cdns_715785618203, (0.92,1.84), x_reflection=True))
sdffx1.add(gdstk.Reference(l1m1_c_cdns_715785618203, (0.92,2.31), x_reflection=True))
sdffx1.add(gdstk.Reference(l1m1_c_cdns_715785618203, (7.84,1.97)))
sdffx1.add(gdstk.Reference(l1m1_c_cdns_715785618203, (0.26,1.29)))
sdffx1.add(gdstk.Reference(l1m1_c_cdns_715785618203, (0.26,2.65)))
sdffx1.add(gdstk.Reference(licondiff_c_cdns_7157856, (4.22,3.235)))
sdffx1.add(gdstk.Reference(licondiff_c_cdns_7157856, (4.22,0.8)))
sdffx1.add(gdstk.Reference(licondiff_c_cdns_7157856, (6.89,3.235)))
sdffx1.add(gdstk.Reference(licondiff_c_cdns_7157856, (6.89,0.8)))
sdffx1.add(gdstk.Reference(licondiff_c_cdns_7157856, (1.98,0.8)))
sdffx1.add(gdstk.Reference(licondiff_c_cdns_7157856, (1.12,0.8)))
sdffx1.add(gdstk.Reference(licondiff_c_cdns_7157856, (1.98,3.235)))
sdffx1.add(gdstk.Reference(licondiff_c_cdns_7157856, (1.12,3.235)))
sdffx1.add(gdstk.Reference(c_pyl1con_c_cdns_715785618, (3.79,1.97), rotation=pi/2, x_reflection=True))
sdffx1.add(gdstk.Reference(c_pyl1con_c_cdns_715785618, (6.46,1.97), rotation=pi/2))
sdffx1.add(gdstk.Reference(c_l1m1_c_cdns_715785618202, (6.03,2.31), rotation=pi, x_reflection=True))
sdffx1.add(gdstk.Reference(c_l1m1_c_cdns_715785618202, (6.46,2.31), rotation=pi, x_reflection=True))
sdffx1.add(gdstk.Reference(c_pyl1con_c_cdns_715785618_, (1.47,1.97), rotation=pi/2))
sdffx1.add(gdstk.Label('Q', (9.215,2.065), layer=68, texttype=20))
sdffx1.add(gdstk.Label('SE', (0.935,1.65), layer=68, texttype=20))
sdffx1.add(gdstk.Label('D', (0.935,2.745), layer=68, texttype=20))
sdffx1.add(gdstk.Label('CK', (2.315,1.265), layer=68, texttype=20))
sdffx1.add(gdstk.Label('SI', (2.315,2.375), layer=68, texttype=20))
sdffx1.add(gdstk.Label('QN', (10.135,2.11), layer=68, texttype=20))
sdffx1.add(gdstk.Label('VSS', (4.825,0.005), layer=68, texttype=20))
sdffx1.add(gdstk.Label('VDD', (4.825,4.145), layer=68, texttype=20))

lib.write_gds('SDFFX1.gds')
